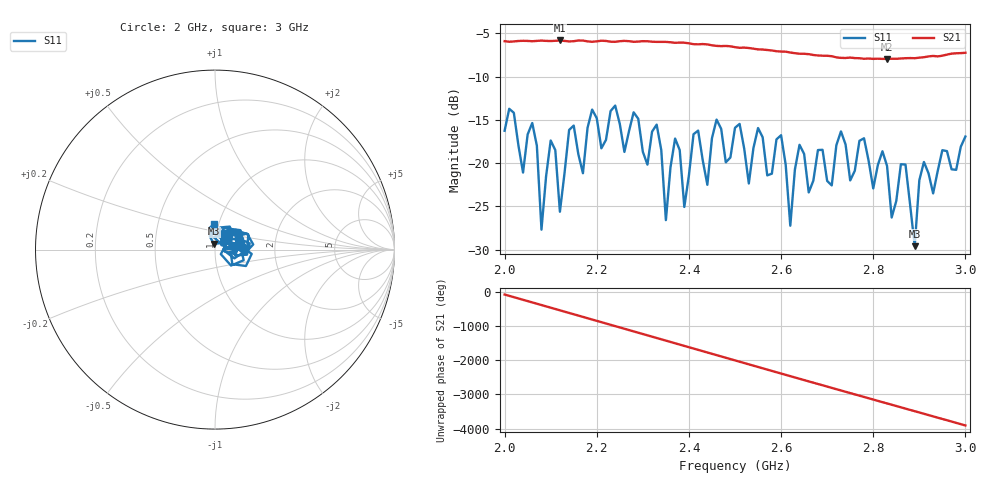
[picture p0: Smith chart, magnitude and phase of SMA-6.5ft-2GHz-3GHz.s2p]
# HZ S RI R 50
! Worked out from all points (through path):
!   101 points, 2 GHz to 3 GHz, reference 50 ohm
!   highest |S21| = -5.83 dB at 2.12 GHz (marker M1); lowest = -8.0 dB at 2.83 GHz (marker M2)
!   lowest |S11| = -29.6 dB at 2.89 GHz (marker M3), VSWR 1.07, Z = 49.3 + j3.2 ohm
!   |S11| at or under -10 dB: start of sweep to end of sweep
!   S12 and S22 are empty: the file has one direction only
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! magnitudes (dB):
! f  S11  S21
! 2 GHz  -16.3  -5.9
! 2.1 GHz  -17.4  -5.9
! 2.12 GHz  -25.6  -5.8
! 2.14 GHz  -16.2  -5.9
! 2.17 GHz  -21.2  -5.8
! 2.19 GHz  -13.8  -6.0
! 2.34 GHz  -18.5  -6.0
! 2.35 GHz  -26.6  -6.0
! 2.37 GHz  -17.2  -6.1
! 2.39 GHz  -25.1  -6.1
! 2.41 GHz  -16.7  -6.3
! 2.5 GHz  -15.9  -6.6
! 2.6 GHz  -16.8  -7.1
! 2.62 GHz  -27.2  -7.2
! 2.64 GHz  -17.9  -7.4
! 2.67 GHz  -22.0  -7.5
! 2.83 GHz  -20.3  -8.0
! 2.84 GHz  -26.3  -7.9
! 2.87 GHz  -20.2  -7.9
! 2.89 GHz  -29.6  -7.9
! 2.91 GHz  -19.9  -7.8
! 3 GHz  -16.9  -7.3
